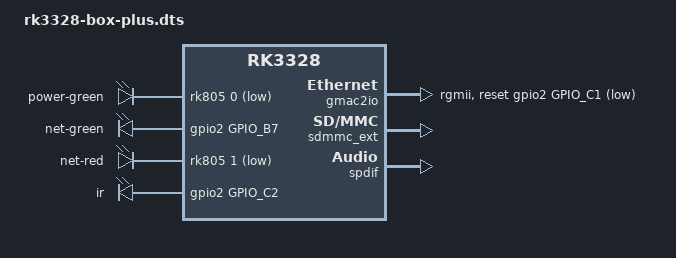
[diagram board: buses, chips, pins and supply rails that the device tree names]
/*
 * Copyright (c) 2016 Fuzhou Rockchip Electronics Co., Ltd
 *
 * This file is dual-licensed: you can use it either under the terms
 * of the GPL or the X11 license, at your option. Note that this dual
 * licensing only applies to this file, and not this project as a
 * whole.
 *
 *  a) This library is free software; you can redistribute it and/or
 *     modify it under the terms of the GNU General Public License as
 *     published by the Free Software Foundation; either version 2 of the
 *     License, or (at your option) any later version.
 *
 *     This library is distributed in the hope that it will be useful,
 *     but WITHOUT ANY WARRANTY; without even the implied warranty of
 *     MERCHANTABILITY or FITNESS FOR A PARTICULAR PURPOSE.  See the
 *     GNU General Public License for more details.
 *
 * Or, alternatively,
 *
 *  b) Permission is hereby granted, free of charge, to any person
 *     obtaining a copy of this software and associated documentation
 *     files (the "Software"), to deal in the Software without
 *     restriction, including without limitation the rights to use,
 *     copy, modify, merge, publish, distribute, sublicense, and/or
 *     sell copies of the Software, and to permit persons to whom the
 *     Software is furnished to do so, subject to the following
 *     conditions:
 *
 *     The above copyright notice and this permission notice shall be
 *     included in all copies or substantial portions of the Software.
 *
 *     THE SOFTWARE IS PROVIDED "AS IS", WITHOUT WARRANTY OF ANY KIND,
 *     EXPRESS OR IMPLIED, INCLUDING BUT NOT LIMITED TO THE WARRANTIES
 *     OF MERCHANTABILITY, FITNESS FOR A PARTICULAR PURPOSE AND
 *     NONINFRINGEMENT. IN NO EVENT SHALL THE AUTHORS OR COPYRIGHT
 *     HOLDERS BE LIABLE FOR ANY CLAIM, DAMAGES OR OTHER LIABILITY,
 *     WHETHER IN AN ACTION OF CONTRACT, TORT OR OTHERWISE, ARISING
 *     FROM, OUT OF OR IN CONNECTION WITH THE SOFTWARE OR THE USE OR
 *     OTHER DEALINGS IN THE SOFTWARE.
 */

/dts-v1/;

#include "rk3328.dtsi"
#include "rk3328-evb.dtsi"
#include "rk3328-box-plus-dram-timing.dtsi"
#include "rk-stb-keymap.dtsi"

/ {
	io-domains {
		vccio6-supply = <&rk805_ldo1_reg>;
	};

	leds {
		compatible = "gpio-leds";

		power-green {
			gpios = <&rk805 0 GPIO_ACTIVE_LOW>;
			linux,default-trigger = "none";
			default-state = "on";
			mode = <0x23>;
		};

		net-green {
			gpios = <&gpio2 GPIO_B7 GPIO_ACTIVE_HIGH>;
			linux,default-trigger = "none";
			default-state = "off";
			mode = <0x05>;
		};

		net-red {
			gpios = <&rk805 1 GPIO_ACTIVE_LOW>;
			linux,default-trigger = "none";
			default-state = "on";
			mode = <0x05>;
		};

		ir {
			gpios = <&gpio2 GPIO_C2 GPIO_ACTIVE_HIGH>;
			linux,default-trigger = "ir";
			default-state = "off";
			mode = <0x00>;
		};
	};

	wireless-wlan {
		wifi_chip_type = "rtl8822bs";
		WIFI,poweren_gpio = <&gpio3 GPIO_B0 GPIO_ACTIVE_HIGH>;
		WIFI,host_wake_irq = <&gpio3 GPIO_A1 GPIO_ACTIVE_HIGH>;
	};

	wireless-bluetooth {
		pinctrl-0 = <&uart2m1_xfer>;
		BT,power_gpio = <&gpio1 GPIO_D0 GPIO_ACTIVE_HIGH>;
		BT,wake_gpio = <&gpio2 GPIO_C7 GPIO_ACTIVE_HIGH>;
		BT,wake_host_irq = <&gpio1 GPIO_D2 GPIO_ACTIVE_HIGH>;
		status = "disabled";
	};
};

&clk_core_dvfs_table {
	operating-points = <
		/* KHz	uV */
		408000	950000
		600000	950000
		816000	1000000
		1008000	1100000
		1200000	1225000
		1296000	1300000
		1392000	1350000
		1512000	1350000
		>;
	status = "okay";
};

&gmac2io {
	reset-gpio = <&gpio2 GPIO_C1 GPIO_ACTIVE_LOW>;
	phy-mode = "rgmii";
	pinctrl-0 = <&rgmiim1_pins>;
	clock_in_out = "input";
	tx_delay = <0x26>;
	status = "okay";
};

&gmac2phy {
	status = "disabled";
};

&sdio {
	status = "disabled";
};

&sdmmc_ext {
	/delete-property/ supports-sd;
	/delete-property/ broken-cd;
	/delete-property/ card-detect-delay;
	/delete-property/ power-inverted;

	clock-frequency = <150000000>;
	clock-freq-min-max = <200000 150000000>;
	supports-sdio;
	ignore-pm-notify;
	keep-power-in-suspend;
	cap-sdio-irq;
	supports-UHS_SDR104;
	status = "okay";
};

&spdif {
	pinctrl-0 = <&spdifm0_tx>;
	status = "okay";
};

&uart0 {
	status = "disabled";
};

&usb2_otg {
	/* 0 - Normal, 1 - Force Host, 2 - Force Device */
	rockchip,usb-mode = <1>;
};

&pinctrl {
	pinctrl-names = "default";
	pinctrl-0 = <&clk_32k_out>;

	clk_32k {
		clk_32k_out: clk-32k-out {
			rockchip,pins =
				<1 GPIO_D4 RK_FUNC_1 &pcfg_pull_none>;
		};
	};
};
